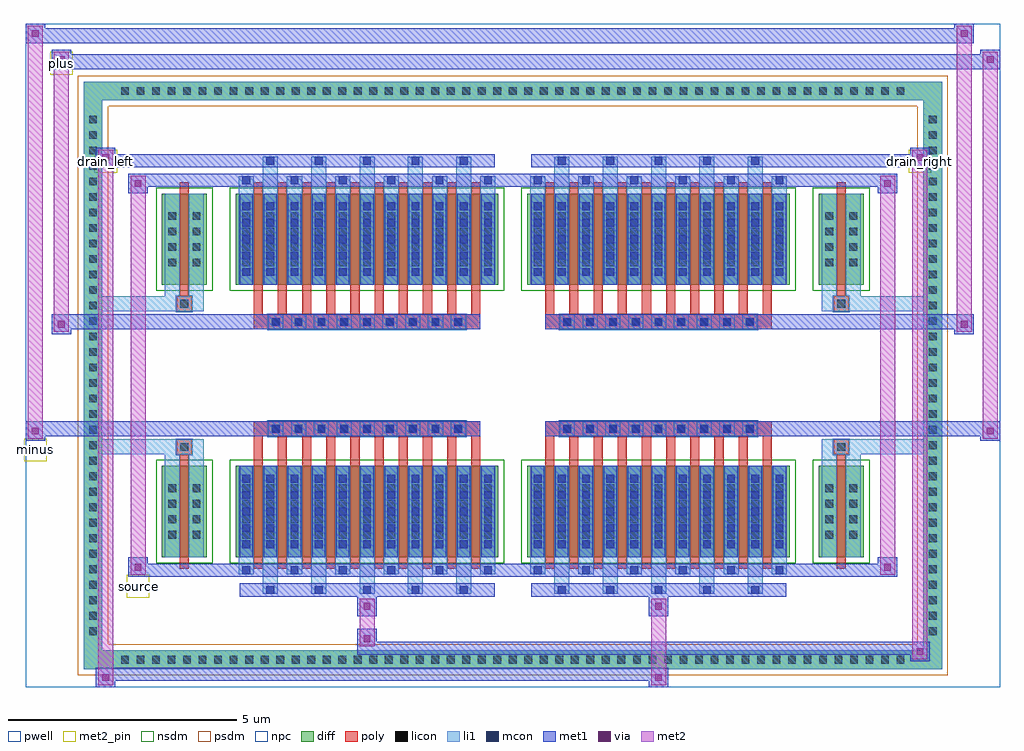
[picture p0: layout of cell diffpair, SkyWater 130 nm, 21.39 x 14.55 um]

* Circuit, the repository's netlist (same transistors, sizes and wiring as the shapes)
* NGSPICE file created from diffpair.ext - technology: sky130A

.subckt diffpair minus drain_right drain_left source plus
X0 drain_left plus source a_n1882_n1288# sky130_fd_pr__nfet_01v8 ad=0.33 pd=2.33 as=0.33 ps=2.33 w=2 l=0.2
X1 source minus drain_right a_n1882_n1288# sky130_fd_pr__nfet_01v8 ad=0.33 pd=2.33 as=0.33 ps=2.33 w=2 l=0.2
X2 drain_right minus source a_n1882_n1288# sky130_fd_pr__nfet_01v8 ad=0.33 pd=2.33 as=0.33 ps=2.33 w=2 l=0.2
X3 source plus drain_left a_n1882_n1288# sky130_fd_pr__nfet_01v8 ad=0.33 pd=2.33 as=0.33 ps=2.33 w=2 l=0.2
X4 drain_right minus source a_n1882_n1288# sky130_fd_pr__nfet_01v8 ad=0.33 pd=2.33 as=0.33 ps=2.33 w=2 l=0.2
X5 drain_right minus source a_n1882_n1288# sky130_fd_pr__nfet_01v8 ad=0.33 pd=2.33 as=0.33 ps=2.33 w=2 l=0.2
X6 source plus drain_left a_n1882_n1288# sky130_fd_pr__nfet_01v8 ad=0.33 pd=2.33 as=0.33 ps=2.33 w=2 l=0.2
X7 source plus drain_left a_n1882_n1288# sky130_fd_pr__nfet_01v8 ad=0.78 pd=4.78 as=0.33 ps=2.33 w=2 l=0.2
X8 drain_right minus source a_n1882_n1288# sky130_fd_pr__nfet_01v8 ad=0.33 pd=2.33 as=0.33 ps=2.33 w=2 l=0.2
X9 source plus drain_left a_n1882_n1288# sky130_fd_pr__nfet_01v8 ad=0.33 pd=2.33 as=0.33 ps=2.33 w=2 l=0.2
X10 drain_left plus source a_n1882_n1288# sky130_fd_pr__nfet_01v8 ad=0.33 pd=2.33 as=0.33 ps=2.33 w=2 l=0.2
X11 drain_left plus source a_n1882_n1288# sky130_fd_pr__nfet_01v8 ad=0.33 pd=2.33 as=0.33 ps=2.33 w=2 l=0.2
X12 source minus drain_right a_n1882_n1288# sky130_fd_pr__nfet_01v8 ad=0.33 pd=2.33 as=0.33 ps=2.33 w=2 l=0.2
X13 source minus drain_right a_n1882_n1288# sky130_fd_pr__nfet_01v8 ad=0.33 pd=2.33 as=0.33 ps=2.33 w=2 l=0.2
X14 drain_left plus source a_n1882_n1288# sky130_fd_pr__nfet_01v8 ad=0.33 pd=2.33 as=0.78 ps=4.78 w=2 l=0.2
X15 source minus drain_right a_n1882_n1288# sky130_fd_pr__nfet_01v8 ad=0.78 pd=4.78 as=0.33 ps=2.33 w=2 l=0.2
X16 drain_left plus source a_n1882_n1288# sky130_fd_pr__nfet_01v8 ad=0.33 pd=2.33 as=0.33 ps=2.33 w=2 l=0.2
X17 source plus drain_left a_n1882_n1288# sky130_fd_pr__nfet_01v8 ad=0.78 pd=4.78 as=0.33 ps=2.33 w=2 l=0.2
X18 source minus drain_right a_n1882_n1288# sky130_fd_pr__nfet_01v8 ad=0.33 pd=2.33 as=0.33 ps=2.33 w=2 l=0.2
X19 drain_right minus source a_n1882_n1288# sky130_fd_pr__nfet_01v8 ad=0.33 pd=2.33 as=0.33 ps=2.33 w=2 l=0.2
X20 source plus drain_left a_n1882_n1288# sky130_fd_pr__nfet_01v8 ad=0.33 pd=2.33 as=0.33 ps=2.33 w=2 l=0.2
X21 source minus drain_right a_n1882_n1288# sky130_fd_pr__nfet_01v8 ad=0.33 pd=2.33 as=0.33 ps=2.33 w=2 l=0.2
X22 drain_right minus source a_n1882_n1288# sky130_fd_pr__nfet_01v8 ad=0.33 pd=2.33 as=0.33 ps=2.33 w=2 l=0.2
X23 drain_left plus source a_n1882_n1288# sky130_fd_pr__nfet_01v8 ad=0.33 pd=2.33 as=0.33 ps=2.33 w=2 l=0.2
X24 drain_right minus source a_n1882_n1288# sky130_fd_pr__nfet_01v8 ad=0.33 pd=2.33 as=0.78 ps=4.78 w=2 l=0.2
X25 drain_right minus source a_n1882_n1288# sky130_fd_pr__nfet_01v8 ad=0.33 pd=2.33 as=0.33 ps=2.33 w=2 l=0.2
X26 a_n1882_n1288# a_n1882_n1288# a_n1882_n1288# a_n1882_n1288# sky130_fd_pr__nfet_01v8 ad=0.78 pd=4.78 as=6.24 ps=38.24 w=2 l=0.2
X27 source plus drain_left a_n1882_n1288# sky130_fd_pr__nfet_01v8 ad=0.33 pd=2.33 as=0.33 ps=2.33 w=2 l=0.2
X28 a_n1882_n1288# a_n1882_n1288# a_n1882_n1288# a_n1882_n1288# sky130_fd_pr__nfet_01v8 ad=0.78 pd=4.78 as=0 ps=0 w=2 l=0.2
X29 source minus drain_right a_n1882_n1288# sky130_fd_pr__nfet_01v8 ad=0.33 pd=2.33 as=0.33 ps=2.33 w=2 l=0.2
X30 source plus drain_left a_n1882_n1288# sky130_fd_pr__nfet_01v8 ad=0.33 pd=2.33 as=0.33 ps=2.33 w=2 l=0.2
X31 drain_left plus source a_n1882_n1288# sky130_fd_pr__nfet_01v8 ad=0.33 pd=2.33 as=0.33 ps=2.33 w=2 l=0.2
X32 drain_right minus source a_n1882_n1288# sky130_fd_pr__nfet_01v8 ad=0.33 pd=2.33 as=0.33 ps=2.33 w=2 l=0.2
X33 source plus drain_left a_n1882_n1288# sky130_fd_pr__nfet_01v8 ad=0.33 pd=2.33 as=0.33 ps=2.33 w=2 l=0.2
X34 source minus drain_right a_n1882_n1288# sky130_fd_pr__nfet_01v8 ad=0.33 pd=2.33 as=0.33 ps=2.33 w=2 l=0.2
X35 source minus drain_right a_n1882_n1288# sky130_fd_pr__nfet_01v8 ad=0.33 pd=2.33 as=0.33 ps=2.33 w=2 l=0.2
X36 a_n1882_n1288# a_n1882_n1288# a_n1882_n1288# a_n1882_n1288# sky130_fd_pr__nfet_01v8 ad=0.78 pd=4.78 as=0 ps=0 w=2 l=0.2
X37 source minus drain_right a_n1882_n1288# sky130_fd_pr__nfet_01v8 ad=0.78 pd=4.78 as=0.33 ps=2.33 w=2 l=0.2
X38 drain_left plus source a_n1882_n1288# sky130_fd_pr__nfet_01v8 ad=0.33 pd=2.33 as=0.78 ps=4.78 w=2 l=0.2
X39 drain_left plus source a_n1882_n1288# sky130_fd_pr__nfet_01v8 ad=0.33 pd=2.33 as=0.33 ps=2.33 w=2 l=0.2
X40 source plus drain_left a_n1882_n1288# sky130_fd_pr__nfet_01v8 ad=0.33 pd=2.33 as=0.33 ps=2.33 w=2 l=0.2
X41 a_n1882_n1288# a_n1882_n1288# a_n1882_n1288# a_n1882_n1288# sky130_fd_pr__nfet_01v8 ad=0.78 pd=4.78 as=0 ps=0 w=2 l=0.2
X42 drain_right minus source a_n1882_n1288# sky130_fd_pr__nfet_01v8 ad=0.33 pd=2.33 as=0.78 ps=4.78 w=2 l=0.2
X43 drain_left plus source a_n1882_n1288# sky130_fd_pr__nfet_01v8 ad=0.33 pd=2.33 as=0.33 ps=2.33 w=2 l=0.2
.ends

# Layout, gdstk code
import gdstk
lib = gdstk.Library(unit=1e-6, precision=5e-09)
def R(c, l, rs):  # rectangles x0, y0, x1, y1
    for r in rs: c.add(gdstk.rectangle(r[:2], r[2:], *l))
def A(c, l, x, y, w, h, nx, ny, dx, dy):  # array of equal rectangles
    R(c, l, [(x+i*dx, y+j*dy, x+i*dx+w, y+j*dy+h) for i in range(nx) for j in range(ny)])
def P(c, l, *ps):  # polygons
    for p in ps: c.add(gdstk.Polygon(p, *l))
pwell = (64, 44)
diff = (65, 20)
poly = (66, 20)
licon = (66, 44)
li1 = (67, 20)
mcon = (67, 44)
met1 = (68, 20)
via = (68, 44)
met2_pin = (69, 16)
met2 = (69, 20)
nsdm = (93, 44)
psdm = (94, 20)
npc = (95, 20)

diffpair = lib.new_cell('diffpair')
R(diffpair, pwell, [(-10.68,-6.84,10.68,7.71), (-8,-5.03,-0.01,-0.805), (0.01,-5.03,8,-0.805), (-8,0.805,-0.01,5.03), (0.01,0.805,8,5.03)])
A(diffpair, diff, -8.705, -6.44, 0.41, 0.41, 51, 2, 0.34, 12.47)
A(diffpair, diff, -9.41, -5.815, 0.41, 0.41, 1, 34, 0, 0.34)
A(diffpair, diff, 9, -5.815, 0.41, 0.41, 1, 34, 0, 0.34)
R(diffpair, diff, [(-8.705,-6.44,8.705,-6.03), (-9.41,-5.815,-9,5.815), (9,-5.815,9.41,5.815), (-7.69,-3.985,-6.71,-1.985), (-6.07,-3.985,-0.32,-1.985), (0.32,-3.985,6.07,-1.985), (6.71,-3.985,7.69,-1.985), (-7.69,1.985,-6.71,3.985), (-6.07,1.985,-0.32,3.985), (0.32,1.985,6.07,3.985), (6.71,1.985,7.69,3.985), (-8.705,6.03,8.705,6.44)])
P(diffpair, diff, [(9.41,6.44),(-9.41,6.44),(-9.41,-6.03),(-9,-6.03),(-9,6.03),(9,6.03),(9,-6.03),(-9,-6.03),(-9.41,-6.03),(-9.41,-6.44),(9.41,-6.44)])
A(diffpair, poly, -5.68, -4.235, 0.2, 2.5, 10, 2, 0.53, 5.97)
A(diffpair, poly, 0.71, -4.235, 0.2, 2.5, 10, 2, 0.53, 5.97)
A(diffpair, poly, -5.68, -1.735, 0.2, 0.4, 10, 2, 0.53, 3.07)
A(diffpair, poly, 0.71, -1.735, 0.2, 0.4, 10, 2, 0.53, 3.07)
A(diffpair, poly, -5.36, -1.335, 0.33, 0.33, 9, 2, 0.5, 2.34)
A(diffpair, poly, 1.03, -1.335, 0.33, 0.33, 9, 2, 0.5, 2.34)
R(diffpair, poly, [(-7.3,-4.235,-7.1,-1.735), (7.1,-4.235,7.3,-1.735), (-7.365,-1.735,-7.035,-1.405), (-7.365,-1.735,-7.035,-1.405), (7.035,-1.735,7.365,-1.405), (7.035,-1.735,7.365,-1.405), (-5.68,-1.335,-0.71,-1.005), (0.71,-1.335,5.68,-1.005), (-5.68,1.005,-0.71,1.335), (0.71,1.005,5.68,1.335), (-7.365,1.405,-7.035,1.735), (-7.365,1.405,-7.035,1.735), (7.035,1.405,7.365,1.735), (7.035,1.405,7.365,1.735), (-7.3,1.735,-7.1,4.235), (7.1,1.735,7.3,4.235)])
A(diffpair, licon, -8.585, -6.32, 0.17, 0.17, 51, 2, 0.34, 12.47)
A(diffpair, licon, -9.29, -5.695, 0.17, 0.17, 1, 34, 0, 0.34)
A(diffpair, licon, 9.12, -5.695, 0.17, 0.17, 1, 34, 0, 0.34)
A(diffpair, licon, -7.55, -3.58, 0.17, 0.17, 1, 4, 0, 0.34)
A(diffpair, licon, -7.02, -3.58, 0.17, 0.17, 1, 4, 0, 0.34)
A(diffpair, licon, -5.93, -3.58, 0.17, 0.17, 11, 4, 0.53, 0.34)
A(diffpair, licon, 0.46, -3.58, 0.17, 0.17, 11, 4, 0.53, 0.34)
A(diffpair, licon, 6.85, -3.58, 0.17, 0.17, 1, 4, 0, 0.34)
A(diffpair, licon, 7.38, -3.58, 0.17, 0.17, 1, 4, 0, 0.34)
A(diffpair, licon, -5.28, -1.255, 0.17, 0.17, 9, 2, 0.5, 2.34)
A(diffpair, licon, 1.11, -1.255, 0.17, 0.17, 9, 2, 0.5, 2.34)
A(diffpair, licon, -7.55, 2.39, 0.17, 0.17, 1, 4, 0, 0.34)
A(diffpair, licon, -7.02, 2.39, 0.17, 0.17, 1, 4, 0, 0.34)
A(diffpair, licon, -5.93, 2.39, 0.17, 0.17, 11, 4, 0.53, 0.34)
A(diffpair, licon, 0.46, 2.39, 0.17, 0.17, 11, 4, 0.53, 0.34)
A(diffpair, licon, 6.85, 2.39, 0.17, 0.17, 1, 4, 0, 0.34)
A(diffpair, licon, 7.38, 2.39, 0.17, 0.17, 1, 4, 0, 0.34)
R(diffpair, licon, [(-7.285,-1.655,-7.115,-1.485), (7.115,-1.655,7.285,-1.485), (-7.285,1.485,-7.115,1.655), (7.115,1.485,7.285,1.655)])
A(diffpair, li1, -8.665, -6.4, 0.33, 0.33, 51, 2, 0.34, 12.47)
A(diffpair, li1, -9.37, -5.775, 0.33, 0.33, 1, 34, 0, 0.34)
A(diffpair, li1, 9.04, -5.775, 0.33, 0.33, 1, 34, 0, 0.34)
A(diffpair, li1, -5.48, -4.79, 0.33, 0.805, 5, 2, 1.06, 8.775)
A(diffpair, li1, -5.4, -4.79, 0.17, 0.17, 5, 2, 1.06, 9.41)
A(diffpair, li1, 0.91, -4.79, 0.33, 0.805, 5, 2, 1.06, 8.775)
A(diffpair, li1, 0.99, -4.79, 0.17, 0.17, 5, 2, 1.06, 9.41)
A(diffpair, li1, -6.01, -4.36, 0.33, 0.375, 6, 2, 1.06, 8.345)
A(diffpair, li1, -5.93, -4.36, 0.17, 0.17, 6, 2, 1.06, 8.55)
A(diffpair, li1, 0.38, -4.36, 0.33, 0.375, 6, 2, 1.06, 8.345)
A(diffpair, li1, 0.46, -4.36, 0.17, 0.17, 6, 2, 1.06, 8.55)
A(diffpair, li1, -6.01, -3.985, 0.33, 2, 11, 2, 0.53, 5.97)
A(diffpair, li1, 0.38, -3.985, 0.33, 2, 11, 2, 0.53, 5.97)
A(diffpair, li1, -5.93, -3.79, 0.17, 0.17, 11, 5, 0.53, 0.36)
A(diffpair, li1, -5.93, -3.79, 0.17, 1.61, 11, 2, 0.53, 5.97)
A(diffpair, li1, 0.46, -3.79, 0.17, 0.17, 11, 5, 0.53, 0.36)
A(diffpair, li1, 0.46, -3.79, 0.17, 1.61, 11, 2, 0.53, 5.97)
A(diffpair, li1, -7.63, -3.66, 0.33, 0.33, 1, 4, 0, 0.34)
A(diffpair, li1, -7.1, -3.66, 0.33, 0.33, 1, 4, 0, 0.34)
A(diffpair, li1, -6.01, -3.66, 0.33, 0.33, 11, 4, 0.53, 0.34)
A(diffpair, li1, 0.38, -3.66, 0.33, 0.33, 11, 4, 0.53, 0.34)
A(diffpair, li1, 6.77, -3.66, 0.33, 0.33, 1, 4, 0, 0.34)
A(diffpair, li1, 7.3, -3.66, 0.33, 0.33, 1, 4, 0, 0.34)
A(diffpair, li1, -5.36, -1.335, 0.33, 0.33, 9, 2, 0.5, 2.34)
A(diffpair, li1, 1.03, -1.335, 0.33, 0.33, 9, 2, 0.5, 2.34)
A(diffpair, li1, -5.93, 2.18, 0.17, 0.17, 11, 5, 0.53, 0.36)
A(diffpair, li1, 0.46, 2.18, 0.17, 0.17, 11, 5, 0.53, 0.36)
A(diffpair, li1, -7.63, 2.31, 0.33, 0.33, 1, 4, 0, 0.34)
A(diffpair, li1, -7.1, 2.31, 0.33, 0.33, 1, 4, 0, 0.34)
A(diffpair, li1, -6.01, 2.31, 0.33, 0.33, 11, 4, 0.53, 0.34)
A(diffpair, li1, 0.38, 2.31, 0.33, 0.33, 11, 4, 0.53, 0.34)
A(diffpair, li1, 6.77, 2.31, 0.33, 0.33, 1, 4, 0, 0.34)
A(diffpair, li1, 7.3, 2.31, 0.33, 0.33, 1, 4, 0, 0.34)
R(diffpair, li1, [(-9.41,-6.44,-9,-6.03), (-9.41,-6.44,-9,-6.03), (-9,-6.44,9,-6.03), (9,-6.44,9.41,-6.03), (9,-6.44,9.41,-6.03), (-9.41,-6.03,-9,6.03), (9,-6.03,9.41,6.03), (-7.63,-3.985,-7.3,-1.985), (-7.1,-3.985,-6.77,-1.985), (6.77,-3.985,7.1,-1.985), (7.3,-3.985,7.63,-1.985), (-7.63,-1.985,-7.3,-1.405), (-7.1,-1.985,-6.77,-1.405), (6.77,-1.985,7.1,-1.405), (7.3,-1.985,7.63,-1.405), (-9.41,-1.735,-7.365,-1.405), (-7.63,-1.735,-7.365,-1.405), (-7.365,-1.735,-7.035,-1.405), (-7.035,-1.735,-6.77,-1.405), (6.77,-1.735,7.035,-1.405), (7.035,-1.735,7.365,-1.405), (7.035,-1.735,9.41,-1.405), (7.365,-1.735,7.63,-1.405), (-9.41,1.405,-7.365,1.735), (-7.63,1.405,-7.365,1.735), (-7.63,1.405,-7.3,1.985), (-7.365,1.405,-7.035,1.735), (-7.1,1.405,-6.77,1.985), (-7.035,1.405,-6.77,1.735), (6.77,1.405,7.035,1.735), (6.77,1.405,7.1,1.985), (7.035,1.405,7.365,1.735), (7.035,1.405,9.41,1.735), (7.3,1.405,7.63,1.985), (7.365,1.405,7.63,1.735), (-7.63,1.985,-7.3,3.985), (-7.1,1.985,-6.77,3.985), (6.77,1.985,7.1,3.985), (7.3,1.985,7.63,3.985), (-9.41,6.03,-9,6.44), (-9.41,6.03,-9,6.44), (-9,6.03,9,6.44), (9,6.03,9.41,6.44), (9,6.03,9.41,6.44)])
A(diffpair, mcon, -5.4, -4.79, 0.17, 0.17, 5, 2, 1.06, 9.41)
A(diffpair, mcon, 0.99, -4.79, 0.17, 0.17, 5, 2, 1.06, 9.41)
A(diffpair, mcon, -5.93, -4.36, 0.17, 0.17, 6, 2, 1.06, 8.55)
A(diffpair, mcon, 0.46, -4.36, 0.17, 0.17, 6, 2, 1.06, 8.55)
A(diffpair, mcon, -5.93, -3.79, 0.17, 0.17, 11, 5, 0.53, 0.36)
A(diffpair, mcon, 0.46, -3.79, 0.17, 0.17, 11, 5, 0.53, 0.36)
A(diffpair, mcon, -5.28, -1.255, 0.17, 0.17, 9, 2, 0.5, 2.34)
A(diffpair, mcon, 1.11, -1.255, 0.17, 0.17, 9, 2, 0.5, 2.34)
A(diffpair, mcon, -5.93, 2.18, 0.17, 0.17, 11, 5, 0.53, 0.36)
A(diffpair, mcon, 0.46, 2.18, 0.17, 0.17, 11, 5, 0.53, 0.36)
A(diffpair, met1, -5.46, -4.85, 0.29, 0.29, 5, 2, 1.06, 9.41)
A(diffpair, met1, 0.93, -4.85, 0.29, 0.29, 5, 2, 1.06, 9.41)
A(diffpair, met1, -5.99, -4.42, 0.29, 0.29, 6, 2, 1.06, 8.55)
A(diffpair, met1, 0.4, -4.42, 0.29, 0.29, 6, 2, 1.06, 8.55)
A(diffpair, met1, -5.99, -3.985, 0.29, 2, 11, 2, 0.53, 5.97)
A(diffpair, met1, 0.4, -3.985, 0.29, 2, 11, 2, 0.53, 5.97)
A(diffpair, met1, -5.99, -3.85, 0.29, 0.29, 11, 5, 0.53, 0.36)
A(diffpair, met1, 0.4, -3.85, 0.29, 0.29, 11, 5, 0.53, 0.36)
A(diffpair, met1, -5.34, -1.315, 0.29, 0.29, 9, 2, 0.5, 2.34)
A(diffpair, met1, 1.05, -1.315, 0.29, 0.29, 9, 2, 0.5, 2.34)
A(diffpair, met1, -5.99, 2.12, 0.29, 0.29, 11, 5, 0.53, 0.36)
A(diffpair, met1, 0.4, 2.12, 0.29, 0.29, 11, 5, 0.53, 0.36)
R(diffpair, met1, [(-9.14,-6.84,-8.71,-6.41), (2.98,-6.84,3.41,-6.41), (-9.14,-6.7,3.41,-6.41), (8.71,-6.27,9.14,-5.84), (-3.41,-6.13,9.14,-5.84), (-3.41,-5.99,-2.98,-5.56), (-3.41,-5.28,-2.98,-4.85), (2.98,-5.28,3.41,-4.85), (-5.99,-4.85,-0.4,-4.56), (0.4,-4.85,5.99,-4.56), (-8.43,-4.42,-8,-3.99), (-8.43,-4.42,-5.99,-4.13), (-5.99,-4.42,-0.4,-4.13), (-0.4,-4.42,0.4,-4.13), (0.4,-4.42,5.99,-4.13), (5.99,-4.42,8.43,-4.13), (8,-4.42,8.43,-3.99), (-10.68,-1.435,-10.25,-1.005), (10.25,-1.435,10.68,-1.005), (-10.68,-1.335,-0.71,-1.005), (-5.68,-1.335,-0.71,-1.005), (0.71,-1.335,5.68,-1.005), (0.71,-1.335,10.68,-1.005), (-10.11,0.905,-9.68,1.335), (9.68,0.905,10.11,1.335), (-10.11,1.005,-5.68,1.335), (-5.68,1.005,-0.71,1.335), (0.71,1.005,5.68,1.335), (5.68,1.005,10.11,1.335), (-8.43,3.99,-8,4.42), (8,3.99,8.43,4.42), (-8.43,4.13,-5.99,4.42), (-5.99,4.13,-0.4,4.42), (-0.4,4.13,0.4,4.42), (0.4,4.13,5.99,4.42), (5.99,4.13,8.43,4.42), (-9.14,4.56,-8.71,4.99), (-9.14,4.56,-5.99,4.85), (-5.99,4.56,-0.4,4.85), (0.4,4.56,5.99,4.85), (5.99,4.56,9.14,4.85), (8.71,4.56,9.14,4.99), (-10.11,6.71,-9.68,7.14), (-10.11,6.71,-8,7.04), (-8,6.71,8,7.04), (8,6.71,10.68,7.04), (10.25,6.71,10.68,7.14), (-10.68,7.28,-10.25,7.71), (-10.68,7.28,-8,7.61), (-8,7.28,8,7.61), (8,7.28,10.11,7.61), (9.68,7.28,10.11,7.71)])
R(diffpair, via, [(-9,-6.7,-8.85,-6.55), (3.12,-6.7,3.27,-6.55), (8.85,-6.13,9,-5.98), (-3.27,-5.85,-3.12,-5.7), (-3.27,-5.14,-3.12,-4.99), (3.12,-5.14,3.27,-4.99), (-8.29,-4.28,-8.14,-4.13), (8.14,-4.28,8.29,-4.13), (-10.54,-1.295,-10.39,-1.145), (10.39,-1.295,10.54,-1.145), (-9.97,1.045,-9.82,1.195), (9.82,1.045,9.97,1.195), (-8.29,4.13,-8.14,4.28), (8.14,4.13,8.29,4.28), (-9,4.7,-8.85,4.85), (8.85,4.7,9,4.85), (-9.97,6.85,-9.82,7), (10.39,6.85,10.54,7), (-10.54,7.42,-10.39,7.57), (9.82,7.42,9.97,7.57)])
R(diffpair, met2_pin, [(-8.465,-4.87,-7.965,-4.37), (-10.715,-1.885,-10.215,-1.385), (-9.175,4.44,-8.675,4.94), (8.675,4.44,9.175,4.94), (-10.145,6.59,-9.645,7.09)])
R(diffpair, met2, [(-9.09,-6.79,-8.76,-6.46), (-9.09,-6.79,-8.76,4.94), (3.03,-6.79,3.36,-6.46), (3.03,-6.46,3.36,-5.23), (8.76,-6.22,9.09,-5.89), (8.76,-6.22,9.09,4.94), (-3.36,-5.94,-3.03,-5.61), (-3.36,-5.61,-3.03,-5.23), (-3.36,-5.23,-3.03,-4.9), (3.03,-5.23,3.36,-4.9), (-8.38,-4.37,-8.05,-4.04), (-8.38,-4.37,-8.05,4.37), (8.05,-4.37,8.38,-4.04), (8.05,-4.37,8.38,4.37), (-10.63,-1.385,-10.3,-1.055), (-10.63,-1.385,-10.3,7.66), (10.3,-1.385,10.63,-1.055), (10.3,-1.385,10.63,7.09), (-10.06,0.955,-9.73,1.285), (-10.06,0.955,-9.73,7.09), (9.73,0.955,10.06,1.285), (9.73,0.955,10.06,7.66), (-8.38,4.04,-8.05,4.37), (8.05,4.04,8.38,4.37), (-9.09,4.61,-8.76,4.94), (8.76,4.61,9.09,4.94), (-10.06,6.76,-9.73,7.09), (10.3,6.76,10.63,7.09), (-10.63,7.33,-10.3,7.66), (9.73,7.33,10.06,7.66)])
P(diffpair, met2, [(10.63,-1.385),(10.63,-1.385),(10.63,-1.055),(10.63,-1.055)],
  [(10.63,6.76),(10.63,6.76),(10.63,7.09),(10.63,7.09)],
  [(-10.3,-1.385),(-10.3,-1.385),(-10.3,-1.055),(-10.3,-1.055)],
  [(-10.3,7.33),(-10.3,7.33),(-10.3,7.66),(-10.3,7.66)],
  [(10.06,0.955),(10.06,0.955),(10.06,1.285),(10.06,1.285)],
  [(10.06,7.33),(10.06,7.33),(10.06,7.66),(10.06,7.66)],
  [(-9.73,0.955),(-9.73,0.955),(-9.73,1.285),(-9.73,1.285)],
  [(-9.73,6.76),(-9.73,6.76),(-9.73,7.09),(-9.73,7.09)],
  [(-8.76,-6.79),(-8.76,-6.79),(-8.76,-6.46),(-8.76,-6.46)],
  [(-8.76,4.61),(-8.76,4.61),(-8.76,4.94),(-8.76,4.94)],
  [(9.09,-6.22),(9.09,-6.22),(9.09,-5.89),(9.09,-5.89)],
  [(9.09,4.61),(9.09,4.61),(9.09,4.94),(9.09,4.94)],
  [(-8.05,-4.37),(-8.05,-4.37),(-8.05,-4.04),(-8.05,-4.04)],
  [(-8.05,4.04),(-8.05,4.04),(-8.05,4.37),(-8.05,4.37)],
  [(8.38,-4.37),(8.38,-4.37),(8.38,-4.04),(8.38,-4.04)],
  [(8.38,4.04),(8.38,4.04),(8.38,4.37),(8.38,4.37)])
R(diffpair, nsdm, [(-7.82,-4.115,-6.58,-1.855), (-6.2,-4.115,-0.19,-1.855), (0.19,-4.115,6.2,-1.855), (6.58,-4.115,7.82,-1.855), (-7.82,1.855,-6.58,4.115), (-6.2,1.855,-0.19,4.115), (0.19,1.855,6.2,4.115), (6.58,1.855,7.82,4.115)])
P(diffpair, psdm, [(9.54,6.57),(-9.54,6.57),(-9.54,-5.9),(-8.87,-5.9),(-8.87,5.9),(8.87,5.9),(8.87,-5.9),(-8.87,-5.9),(-9.54,-5.9),(-9.54,-6.57),(9.54,-6.57)])
A(diffpair, npc, -5.38, -1.355, 0.37, 0.37, 9, 2, 0.5, 2.34)
A(diffpair, npc, 1.01, -1.355, 0.37, 0.37, 9, 2, 0.5, 2.34)
R(diffpair, npc, [(-7.385,-1.755,-7.015,-1.385), (7.015,-1.755,7.385,-1.385), (-5.38,-1.355,-4.51,-0.985), (-5.38,-1.355,-4.51,-0.985), (-4.88,-1.355,-4.01,-0.985), (-4.88,-1.355,-4.01,-0.985), (-4.38,-1.355,-3.51,-0.985), (-4.38,-1.355,-3.51,-0.985), (-3.88,-1.355,-3.01,-0.985), (-3.88,-1.355,-3.01,-0.985), (-3.38,-1.355,-2.51,-0.985), (-3.38,-1.355,-2.51,-0.985), (-2.88,-1.355,-2.01,-0.985), (-2.88,-1.355,-2.01,-0.985), (-2.38,-1.355,-1.51,-0.985), (-2.38,-1.355,-1.51,-0.985), (-1.88,-1.355,-1.01,-0.985), (-1.88,-1.355,-1.01,-0.985), (1.01,-1.355,1.88,-0.985), (1.01,-1.355,1.88,-0.985), (1.51,-1.355,2.38,-0.985), (1.51,-1.355,2.38,-0.985), (2.01,-1.355,2.88,-0.985), (2.01,-1.355,2.88,-0.985), (2.51,-1.355,3.38,-0.985), (2.51,-1.355,3.38,-0.985), (3.01,-1.355,3.88,-0.985), (3.01,-1.355,3.88,-0.985), (3.51,-1.355,4.38,-0.985), (3.51,-1.355,4.38,-0.985), (4.01,-1.355,4.88,-0.985), (4.01,-1.355,4.88,-0.985), (4.51,-1.355,5.38,-0.985), (4.51,-1.355,5.38,-0.985), (-5.38,0.985,-4.51,1.355), (-5.38,0.985,-4.51,1.355), (-4.88,0.985,-4.01,1.355), (-4.88,0.985,-4.01,1.355), (-4.38,0.985,-3.51,1.355), (-4.38,0.985,-3.51,1.355), (-3.88,0.985,-3.01,1.355), (-3.88,0.985,-3.01,1.355), (-3.38,0.985,-2.51,1.355), (-3.38,0.985,-2.51,1.355), (-2.88,0.985,-2.01,1.355), (-2.88,0.985,-2.01,1.355), (-2.38,0.985,-1.51,1.355), (-2.38,0.985,-1.51,1.355), (-1.88,0.985,-1.01,1.355), (-1.88,0.985,-1.01,1.355), (1.01,0.985,1.88,1.355), (1.01,0.985,1.88,1.355), (1.51,0.985,2.38,1.355), (1.51,0.985,2.38,1.355), (2.01,0.985,2.88,1.355), (2.01,0.985,2.88,1.355), (2.51,0.985,3.38,1.355), (2.51,0.985,3.38,1.355), (3.01,0.985,3.88,1.355), (3.01,0.985,3.88,1.355), (3.51,0.985,4.38,1.355), (3.51,0.985,4.38,1.355), (4.01,0.985,4.88,1.355), (4.01,0.985,4.88,1.355), (4.51,0.985,5.38,1.355), (4.51,0.985,5.38,1.355), (-7.385,1.385,-7.015,1.755), (7.015,1.385,7.385,1.755)])
diffpair.add(gdstk.Label('minus', (-10.465,-1.635), layer=69, texttype=5))
diffpair.add(gdstk.Label('drain_right', (8.925,4.69), layer=69, texttype=5))
diffpair.add(gdstk.Label('drain_left', (-8.925,4.69), layer=69, texttype=5))
diffpair.add(gdstk.Label('source', (-8.215,-4.62), layer=69, texttype=5))
diffpair.add(gdstk.Label('plus', (-9.895,6.84), layer=69, texttype=5))

lib.write_gds('diffpair.gds')
